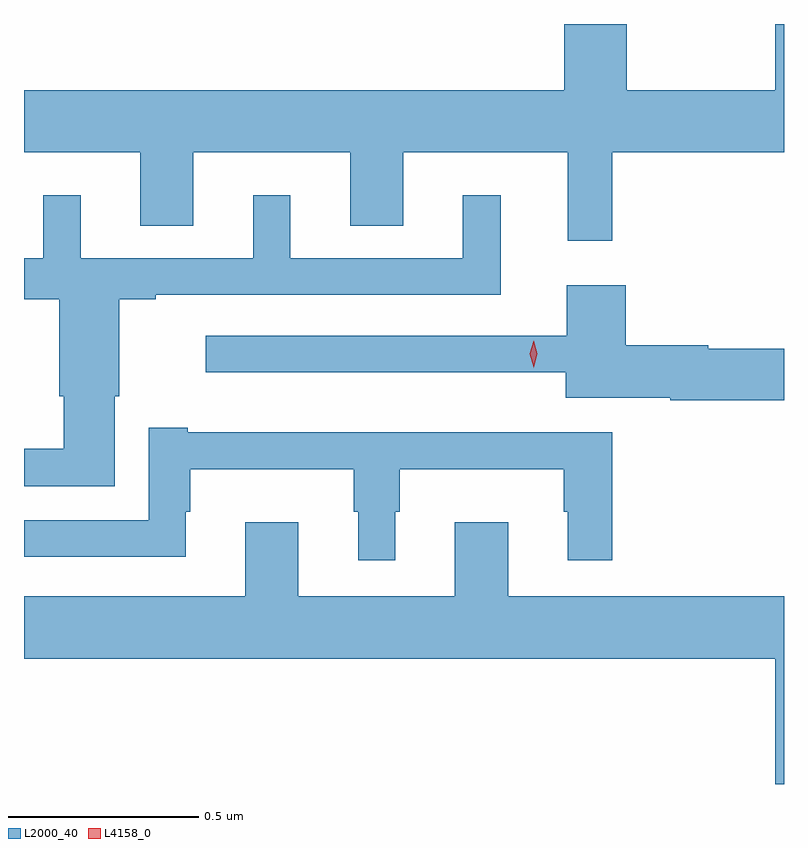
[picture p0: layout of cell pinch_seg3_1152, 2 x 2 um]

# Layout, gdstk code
import gdstk
lib = gdstk.Library(unit=1e-6, precision=1e-09)
def P(c, l, *ps):  # polygons
    for p in ps: c.add(gdstk.Polygon(p, *l))
L2000_40 = (2000, 40)
L4158_0 = (4158, 0)

pinch_seg3_1152 = lib.new_cell('pinch_seg3_1152')
P(pinch_seg3_1152, L2000_40, [(224.519,710.24),(224.971,710.24),(224.971,710.578),(224.948,710.578),(224.948,710.404),(224.557,710.404),(224.557,710.578),(224.393,710.578),(224.393,710.404),(222.971,710.404),(222.971,710.24),(223.277,710.24),(223.277,710.047),(223.417,710.047),(223.417,710.24),(223.829,710.24),(223.829,710.047),(223.969,710.047),(223.969,710.24),(224.402,710.24),(224.402,710.007),(224.519,710.007)],
  [(223.21,709.599),(223.222,709.599),(223.222,709.854),(223.318,709.854),(223.318,709.866),(224.225,709.866),(224.225,710.128),(224.126,710.128),(224.126,709.962),(223.672,709.962),(223.672,710.128),(223.574,710.128),(223.574,709.962),(223.12,709.962),(223.12,710.128),(223.022,710.128),(223.022,709.962),(222.971,709.962),(222.971,709.854),(223.064,709.854),(223.064,709.599),(223.076,709.599),(223.076,709.46),(222.971,709.46),(222.971,709.362),(223.21,709.362)],
  [(224.971,709.724),(224.772,709.724),(224.772,709.732),(224.555,709.732),(224.555,709.891),(224.399,709.891),(224.399,709.758),(223.449,709.758),(223.449,709.661),(224.396,709.661),(224.396,709.595),(224.672,709.595),(224.672,709.588),(224.971,709.588)],
  [(223.948,709.295),(223.96,709.295),(223.96,709.406),(224.391,709.406),(224.391,709.295),(224.402,709.295),(224.402,709.167),(224.519,709.167),(224.519,709.504),(223.402,709.504),(223.402,709.516),(223.299,709.516),(223.299,709.272),(222.971,709.272),(222.971,709.176),(223.396,709.176),(223.396,709.295),(223.408,709.295),(223.408,709.406),(223.839,709.406),(223.839,709.295),(223.85,709.295),(223.85,709.167),(223.948,709.167)],
  [(224.948,708.578),(224.971,708.578),(224.971,709.072),(224.245,709.072),(224.245,709.267),(224.105,709.267),(224.105,709.072),(223.693,709.072),(223.693,709.267),(223.553,709.267),(223.553,709.072),(222.971,709.072),(222.971,708.908),(224.948,708.908)])
P(pinch_seg3_1152, L4158_0, [(224.312,709.674),(224.312,709.675),(224.302,709.71),(224.312,709.745),(224.313,709.745),(224.313,709.745),(224.322,709.71),(224.312,709.675)])

lib.write_gds('pinch_seg3_1152.gds')
